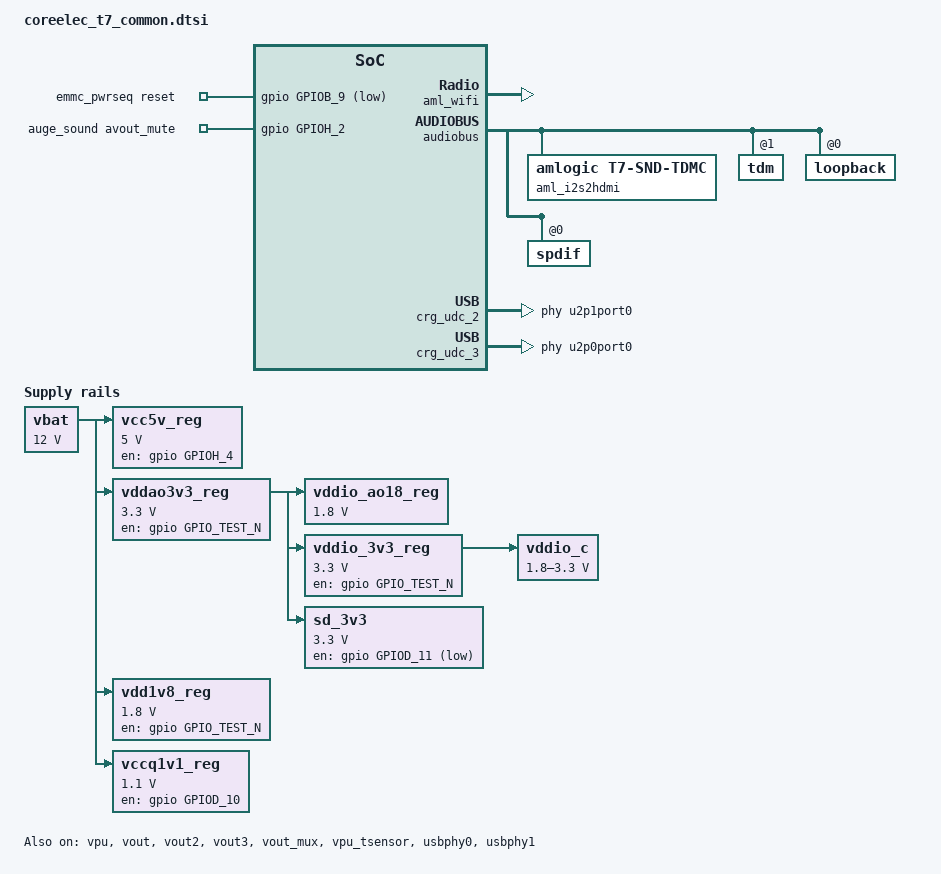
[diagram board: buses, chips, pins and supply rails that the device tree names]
#include "coreelec_common.dtsi"

/ {
	compatible = "amlogic, t7";

	amhdmitx: amhdmitx{
		vend_data: vend_data{ /* Should modified by Customer */
			product_desc = "T7"; /* Max Chars: 16 */
		};
	};

	gpu:bifrost {
		compatible = "arm,mali-bifrost";
	};

	reserved-memory {
		ion_cma_reserved:linux,ion-dev {
			size = <0x00000000 0x09800000>;
		};

		ion_fb_reserved:linux,ion-fb {
			size = <0x00000000 0x11000000>;
		};
	};

	secmon {
		clear_range = <0x05100000 0x02a00000>;
	};

	/delete-node/ hdmirx;
	/delete-node/ smartcard;
	/delete-node/ lcd;
	/delete-node/ backlight;
	/delete-node/ local_dimming_device;
	/delete-node/ lcd1;
	/delete-node/ backlight1;
	/delete-node/ lcd2;

	bl30_manager {
		mboxes = <&mbox_fifo T7_REE2AO_DEV>;
	};

	mbox_devfs {
		status = "disabled";
	};

	emmc_pwrseq: emmc-pwrseq {
		compatible = "mmc-pwrseq-emmc";
		reset-gpios = <&gpio GPIOB_9 GPIO_ACTIVE_LOW>;
	};

	/delete-node/ auge_sound;
	auge_sound {
		compatible = "amlogic, auge-sound-card";
		aml-audio-card,name = "AML-AUGESOUND";

		/*avout mute gpio*/
		avout_mute-gpios = <&gpio GPIOH_2 GPIO_ACTIVE_HIGH>;

		aml-audio-card,dai-link@0 {
			mclk-fs = <128>;
			cpu {
				system-clock-frequency = <6144000>;
				sound-dai = <&spdifb>;
			};
			codec {
				sound-dai = <&spdifb>;
			};
		};

		aml-audio-card,dai-link@1 {
			format = "i2s";
			mclk-fs = <256>;
			bitclock-master = <&tdmb>;
			frame-master = <&tdmb>;
			cpu {
				dai-tdm-slot-tx-mask = <1 1>;
				dai-tdm-slot-rx-mask = <1 1>;
				dai-tdm-slot-num = <2>;
				dai-tdm-slot-width = <32>;
				system-clock-frequency = <12288000>;
				sound-dai = <&tdmb>;
			};
			codec {
				sound-dai = <&acodec>;
			};
		};

		aml-audio-card,dai-link@2 {
			mclk-fs = <128>;
			cpu {
				system-clock-frequency = <6144000>;
				sound-dai = <&spdifa>;
			};
			codec {
				sound-dai = <&spdifa>;
			};
		};

		aml-audio-card,dai-link@3 {
			format = "i2s";
			mclk-fs = <256>;
			bitclock-master = <&aml_i2s2hdmi>;
			frame-master = <&aml_i2s2hdmi>;
			cpu {
				sound-dai = <&aml_i2s2hdmi>;
				dai-tdm-slot-tx-mask = <1 1>;
				dai-tdm-slot-rx-mask = <1 1>;
				dai-tdm-slot-num = <2>;
				dai-tdm-slot-width = <32>;
				system-clock-frequency = <12288000>;
			};
			codec {
				sound-dai = <&dummy_codec>;
			};
		};
	};

	vbat: fixedregulator@0 {
		compatible = "regulator-fixed";
		regulator-name = "12V";
		regulator-min-microvolt = <12000000>;
		regulator-max-microvolt = <12000000>;
		regulator-boot-on;
		regulator-always-on;
	};

	vcc5v_reg: fixedregulator@1{
		compatible = "regulator-fixed";
		vin-supply = <&vbat>;
		regulator-name = "VCC5V";
		regulator-min-microvolt = <5000000>;
		regulator-max-microvolt = <5000000>;
		gpio = <&gpio GPIOH_4 GPIO_ACTIVE_HIGH>;
		startup-delay-us = <70000>;
		enable-active-high;
		regulator-boot-on;
		regulator-always-on;
	};

	vddao3v3_reg: fixedregulator@2{
		vin-supply = <&vbat>;
		compatible = "regulator-fixed";
		regulator-name = "VDDAO_3V3";
		regulator-min-microvolt = <3300000>;
		regulator-max-microvolt = <3300000>;
		gpio = <&gpio GPIO_TEST_N GPIO_ACTIVE_HIGH>;
		startup-delay-us = <70000>;
		enable-active-high;
		regulator-boot-on;
		regulator-always-on;
	};

	vdd1v8_reg: fixedregulator@3{
		vin-supply = <&vbat>;
		compatible = "regulator-fixed";
		regulator-name = "VDDIO_1V8";
		regulator-min-microvolt = <1800000>;
		regulator-max-microvolt = <1800000>;
		gpio = <&gpio GPIO_TEST_N GPIO_ACTIVE_HIGH>;
		startup-delay-us = <70000>;
		enable-active-high;
		regulator-boot-on;
		regulator-always-on;
	};

	vddio_ao18_reg: fixedregulator@2_1{
		compatible = "regulator-fixed";
		vin-supply = <&vddao3v3_reg>;
		regulator-name = "VDDAO_1V8";
		regulator-min-microvolt = <1800000>;
		regulator-max-microvolt = <1800000>;
		regulator-boot-on;
		regulator-always-on;
	};

	vddio_3v3_reg: fixedregulator@2_2{
		compatible = "regulator-fixed";
		vin-supply = <&vddao3v3_reg>;
		regulator-name = "VDDIO_3V3";
		regulator-min-microvolt = <3300000>;
		regulator-max-microvolt = <3300000>;
		gpio = <&gpio GPIO_TEST_N GPIO_ACTIVE_HIGH>;
		startup-delay-us = <70000>;
		enable-active-high;
		regulator-boot-on;
		regulator-always-on;
	};

	sd_3v3: sdcard-regulator-consumer_3v3 {
		compatible = "regulator-fixed";
		regulator-name = "SD_3V3 SD/TF";
		vin-supply = <&vddao3v3_reg>;
		regulator-min-microvolt = <3300000>;
		regulator-max-microvolt = <3300000>;
		gpio = <&gpio GPIOD_11 GPIO_ACTIVE_LOW>;  /* 0R */
		enable-active-low;
		regulator-boot-on;
		regulator-always-on;
	};

	vddio_c: sdcard-regulator-consumer_1v8_3v3 {
		compatible = "regulator-gpio";
		vin-supply = <&vddio_3v3_reg>;
		regulator-name = "VDDIO_C SD/TF";
		regulator-min-microvolt = <1800000>;
		regulator-max-microvolt = <3300000>;
		/* vim4 VDDIOC_SW */
		/* H: 1.8V, L: 3.3V */
		gpio = <&gpio GPIOD_9 GPIO_ACTIVE_HIGH>;
		gpios-states = <1>;

		/* Based on P200 schematics, signal CARD_1.8V/3.3V_CTR */
		states = <1800000 1
			  3300000 0>;
	};

	vccq1v1_reg: fixedregulator@4{
		compatible = "regulator-fixed";
		vin-supply = <&vbat>;
		regulator-name = "VDDQ_1V1";
		regulator-min-microvolt = <1100000>;
		regulator-max-microvolt = <1100000>;
		gpio = <&gpio GPIOD_10 GPIO_ACTIVE_HIGH>;
		startup-delay-us = <70000>;
		enable-active-high;
		regulator-boot-on;
		regulator-always-on;
	};
};

&aml_wifi {
	status = "okay";
	wifi_static_buf = <1>;
	/delete-property/ pwm_config;

	pwm_channel1_conf {
		pwms = <&pwm_ab 0 30550 0>;
		duty-cycle = <15270>;
		times = <8>;
	};
	pwm_channel2_conf {
		pwms = <&pwm_ab 2 30500 0>;
		duty-cycle = <15250>;
		times = <12>;
	};
};

&vdin0 {
	status = "disabled";
};

&vdin1 {
	status = "disabled";
};

&i2c2 {
	/delete-node/ sensor1@1a;
	/delete-node/ sensor2@36;
};

&csiphy0 {
	/delete-node/ ports;
};

&audiobus {
	aml_i2s2hdmi: i2s2hdmi {
		compatible = "amlogic, t7-snd-tdmc";
		clocks = <&clkaudio CLKID_AUDIO_MCLK_C
				&clkc CLKID_MPLL2>;
		clock-names = "mclk", "clk_srcpll";
	};
	tdm@1 {
		/delete-property/ tdmin-src-name;
		/delete-property/ ctrl_gain;
		/delete-node/ Channel_Mask;
	};
	resample@0 {
		status = "disabled";
	};
	/delete-node/ resample@1;
	loopback@0 {
		datain_chnum = <0>;
		datain_chmask = <0x0>;
		/* config which data pin for loopback */
		datain-lane-mask-in = <0 0 0 0>;
	};
	spdif@0 {
		/delete-property/ samesource_sel;
	};
};

&nna_tsensor {
	status = "disabled";
};

&i2c1 {
	/delete-node/ tas5707_36@1b;
	/delete-node/ tas5707_3a@1d;
};

&connectors_dev {
	/delete-node/ endpoint@2;
	/delete-node/ endpoint@3;
	/delete-node/ endpoint@4;
};

&sd_emmc_c {
	mmc-pwrseq = <&emmc_pwrseq>;
};

&ethmac {
	internal_phy = <2>;
	cali_val = <0x80000>;
};

&vpu {
	status = "okay";
};

&vout {
	status = "okay";
};

&vout2 {
	status = "okay";
};

&vout3 {
	status = "okay";
};

&vout_mux {
	status = "okay";
};

&vpu_tsensor {
	status = "okay";
};

&{/multi-di} {
	status = "okay";
};

&{/vpu_security} {
	status = "okay";
};

&eDPTX0 {
	status = "disabled";
};

&eDPTX1 {
	status = "disabled";
};

/delete-node/ &crg_phy_20;
/delete-node/ &crg_phy_21;
/delete-node/ &crg3_phy_20;
/delete-node/ &crg3_phy_21;
/delete-node/ &crg20_otg;
/delete-node/ &crg21_otg;

&{/soc} {
	usbphy0: usbphy0@fe03a000 {
		compatible = "amlogic,uphy-t7c";
		#address-cells = <1>;
		#size-cells = <1>;
		status = "okay";

		u2p0port0: u2p@0 {
			#phy-cells = <0>;
			port-speed = <0x0>; /* 0~2: HS HSP SS */
			reg = <0xfe03a000 0x80
			       0xfe002000 0x100
			       0x0 0x0
			       0xfe03c000 0x2000>;
			reset-level = <0x40>;
			phy-reset-level-bits = <8>;
			usb-reset-bit = <4>;
			pll-settings = <0x09400414
					0x927E0000
					0xac5f69e5
					0xbe18
					0x8000fff
					0x78000
					0xe0004
					0xe000c>;
			dis-thred-enhance = <0x2>;
			clocks = <&clkc CLKID_USB>;
			clock-names = "crg_general";
			interrupts = <GIC_SPI 129 IRQ_TYPE_EDGE_RISING>;
			gpio-vbus-power = "GPIOM_8";
			gpios = <&gpio GPIOM_8 GPIO_ACTIVE_HIGH>;
		};

		u3p0port0: u3p@0 {
			compatible = "amlogic, amlogic-crg-drd-usb3";
			#phy-cells = <0>;
			port-speed = <0x2>; /* 0~2: HS HSP SS */
			reg = <0xfe03a080 0x20>;
			phy1-reg = <0xfe062000>;
			phy1-reg-size = <0x2000>;
			phy-pcie-reg = <0xfe02a000>;
			phy-pcie-reg-size = <0x2000>;
			reset-reg = <0xFE002000>;
			reset-reg-size = <0x100>;
			reset-level = <0x40>;
			usb3-apb-reset-bit = <23>;
			usb3-phy-reset-bit = <22>;
			usb3-reset-shit = <0x4>;
			clocks = <&clkc CLKID_PCIE_PLL
				  &clkc CLKID_PCIE_HCSL>;
			clock-names = "pcie_refpll",
				      "pcie_hcsl";
		};
	};

	usbphy1: usbphy1@fe03a020 {
		compatible = "amlogic,uphy-t7c";
		#address-cells = <1>;
		#size-cells = <1>;
		status = "okay";

		u2p1port0: u2p@0 {
			#phy-cells = <0>;
			port-speed = <0x0>; /* 0~2: HS HSP SS */
			reg = <0xfe03a020 0x60
			       0xfe002000 0x100
			       0x0 0x0
			       0xfe03e000 0x2000>;
			reset-level = <0x40>;
			phy-reset-level-bits = <9>;
			usb-reset-bit = <4>;
			pll-settings = <0x09400414
					0x927E0000
					0xac5f69e5
					0xbe18
					0x8000fff
					0x78000
					0xe0004
					0xe000c>;
			dis-thred-enhance = <0x2>;
			clocks = <&clkc CLKID_USB>;
			clock-names = "crg_general";
			interrupts = <GIC_SPI 281 IRQ_TYPE_EDGE_RISING>;
			gpio-vbus-power = "GPIOM_9";
			gpios = <&gpio GPIOM_9 GPIO_ACTIVE_HIGH>;
			phy-otg;
			controller-type = <1>; /* 0~3: normal, host, device, otg */
		};
	};
};

&crg2_drd {
	/delete-property/ usb-phy;
	phys = <&u2p1port0>;
	phy-names = "usb2-phy";
};

&crg3_drd {
	/delete-property/ usb-phy;
	phys = <&u2p0port0>, <&u3p0port0>;
	phy-names = "usb2-phy", "usb3-phy";
};

&crg_udc_2 {
	/delete-property/ phy-reg;
	/delete-property/ phy-reg-size;
	phys = <&u2p1port0>;
};

&crg_udc_3 {
	/delete-property/ phy-reg;
	/delete-property/ phy-reg-size;
	phys = <&u2p0port0>;
};
